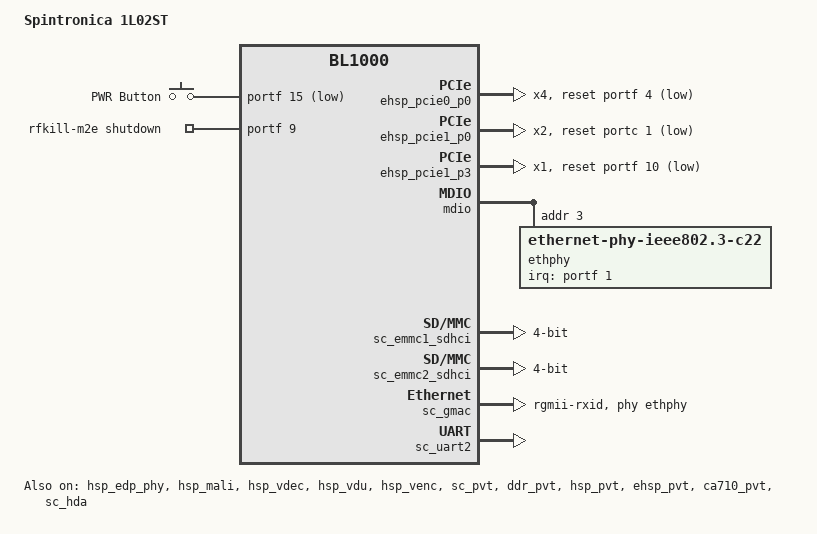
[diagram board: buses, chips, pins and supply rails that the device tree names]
// SPDX-License-Identifier: GPL-2.0
/*
 * Device tree source for ET114-v2.
 */

/dts-v1/;

#define USE_BL1000_PCIE1_SS_MODE	3

#include "bl1000.dtsi"
#include <dt-bindings/input/gpio-keys.h>
#include <dt-bindings/input/linux-event-codes.h>

/ {
	model = "Spintronica 1L02ST";
	compatible = "baikal,dbl", "baikal,bl1000";

	aliases {
		ethernet0 = &sc_gmac;
		fru = &fru;
		evdu = &ehsp_vdu;
		vdu = &hsp_vdu;
	};

	cpus {
		baikal,demand-qos = <12>;
		baikal,prefetch-qos = <10>;
		cpu@0 {
			baikal,enable-cbusy-tuning = <1>;
		};
		cpu@100 {
			baikal,enable-cbusy-tuning = <1>;
		};
		cpu@200 {
			baikal,enable-cbusy-tuning = <1>;
		};
		cpu@300 {
			baikal,enable-cbusy-tuning = <1>;
		};
	};

	chosen { };

	gpio-keys {
		compatible = "gpio-keys";
		pinctrl = <&hsp_lsp_pin14_gpio32>,
			  <&hsp_lsp_pin15_gpio32>; // ???
		pwr {
			label = "PWR Button";
			linux,code = <116>;
			gpios = <&portf 15 GPIO_ACTIVE_LOW>;
			wakeup-source;
			wakeup-event-action = <EV_ACT_DEASSERTED>;
		};
	};

	rfkill {
		compatible = "rfkill-gpio";
		label = "rfkill-m2e";
		radio-type = "wlan";
		shutdown-gpios = <&portf 9 GPIO_ACTIVE_HIGH>;
	};

};

&ehsp_pcie0_p0 {
	status = "okay";
	num-lanes = <4>;
	pinctrl = <&hsp_lsp_pin4_gpio32>;
	reset-gpios = <&portf 4 GPIO_ACTIVE_LOW>;
};

&ehsp_pcie1_p0 {
	status = "okay";
	num-lanes = <2>;
	reset-gpios = <&portc 1 GPIO_ACTIVE_LOW>;
};

&ehsp_pcie1_p3 {
	status = "okay";
	num-lanes = <1>;
	pinctrl = <&hsp_lsp_pin10_gpio32>;
	reset-gpios = <&portf 10 GPIO_ACTIVE_LOW>;
};

&hsp_edp_phy {
	status = "okay";
};

&edp_phy {
	cdns,num-lanes = <2>;
};

&hsp_lsp_pinctrl0 {
	status = "okay";
};

&hsp_lsp_pinctrl1 {
	status = "okay";
};

&hsp_lsp_pinctrl2 {
	status = "okay";
};

&hsp_mali {
	status = "okay";
	baikal,arqos = <10>;
	baikal,awqos = <10>;
};

&hsp_vdec {
	status = "okay";
	baikal,arqos = <14>;
	baikal,awqos = <14>;
};

&hsp_vdu {
	status = "okay";
	baikal,dp-lanes = <4>;
	baikal,arqos = <15>;
	backlight {
		min-brightness-level = <10>;
		default-brightness-level = <60>;
		brightness-level-step = <2>;
		pwm-frequency = <20000>;
	};
};

&hsp_venc {
	status = "okay";
};

&mdio {
	ethphy: ethernet-phy@3 {
		compatible = "ethernet-phy-ieee802.3-c22";
		reg = <0x3>;
		interrupt-parent = <&portf>;
		interrupts = <1 IRQ_TYPE_LEVEL_LOW>;
	};
};

&sc_emmc1_sdhci {
	status = "okay";
	pinctrl = <&sc_emmc_mux_emmc1>,
		  <&sc_emmc_hc1_1_8v>,
		  <&sc_emmc_hc1_mem_pwrup>,
		  <&sc_emmc_pu_hc1_cmd_dat_0_7>,
		  <&sc_emmc_pd_hc1_dqs>;
	bus-width = <4>;
};

&sc_emmc2_sdhci {
	status = "okay";
	pinctrl = <&sc_emmc_mux_emmc2>,
		  <&sc_emmc_hc2_1_8v>,
		  <&sc_emmc_hc2_mem_pwrup>,
		  <&sc_emmc_pu_hc2_cmd_dat_0_7>,
		  <&sc_emmc_pd_hc2_dqs>;
	bus-width = <4>;
};

&sc_emmc_pinctrl {
	status = "okay";
};

&sc_emmc_pu_pinctrl {
	status = "okay";
};

&sc_emmc_pd_pinctrl {
	status = "okay";
};

&sc_gmac {
	status = "okay";
	pinctrl = <&sc_gmac_sdio_bit0_mode1>,
		  <&hsp_lsp_pin0_gpio32>,
		  <&hsp_lsp_pin1_gpio32>;

	phy-handle = <&ethphy>;
	phy-mode = "rgmii-rxid";

	snps,reset-gpios = <&portf 0 GPIO_ACTIVE_LOW>;
	snps,reset-delays-us = <10 10200 60000>;
};

&sc_gmac_sdio_pinctrl {
	status = "okay";
};

&sc_gpio32 {
	status = "okay";
};

&hsp_gpio32 {
	status = "okay";
};

&sc_gpio30 {
	status = "okay";
};

&hsp_lsp_pinctrl0 {
	status = "okay";
};

&sc_lsp_pinctrl0 {
	status = "okay";
};

&sc_lsp_pinctrl1 {
	status = "okay";
};

&sc_lsp_pinctrl2 {
	status = "okay";
};

&sc_uart2 {
	status = "okay";
	pinctrl = <&sc_lsp_pin12_uart2_rxd>,
		  <&sc_lsp_pin13_uart2_txd>;
};

&sc_pvt {
	status = "okay";
};

&ddr_pvt {
	status = "okay";
};

&hsp_pvt {
	status = "okay";
};

&ehsp_pvt {
	status = "okay";
};

&ca710_pvt {
	status = "okay";
};

&sc_hda {
	status = "okay";
	pinctrl = <&sc_lsp_pin14_hda_rst>,
		  <&sc_lsp_pin15_hda_sync>,
		  <&sc_lsp_pin16_hda_bclk>,
		  <&sc_lsp_pin17_hda_sdo0>,
		  <&sc_lsp_pin18_hda_sdi0>;
	patch-data = "[codec]\n\
0x111d76d5 0x00000100 0\n\
[model]\n\
et114\n\
[pincfg]\n\
0x0a 0x01a1101f\n\
0x0b 0x01211010\n\
0x0c 0x02a19020\n\
0x0e 0x02014021\n\
0x0f 0x02813040\n";
};

&ehsp_dp_phy {
	status = "okay";
};

&ehsp_vdu {
	status = "okay";
	baikal,dp-lanes = <4>;
	baikal,arqos = <15>;
};

&hsp_usb1_l0 {
	status = "okay";
	dr_mode = "host";
	maximum-speed = "super-speed";
	phys = <&hsp_usb1_phy10g_l0>;
	phy-names = "cdns3,usb3-phy";
};

&hsp_usb1_l1 {
	status = "okay";
	dr_mode = "host";
	maximum-speed = "high-speed";
	phys = <&hsp_usb1_phy10g_l1>;
	phy-names = "cdns3,usb3-phy";
};

&hsp_usb1_phy10g {
	status = "okay";
};

&hsp_usb1_phy10g_l0 {
	status = "okay";
};

&hsp_usb1_phy10g_l1 {
	status = "okay";
};

&sc_i2c1 {	// M2E
	status = "okay";
	pinctrl = <&sc_lsp_pin2_i2c1_scl>,
		  <&sc_lsp_pin3_i2c1_sda>;
};

&sc_i2c2 {
	status = "okay";
	pinctrl = <&sc_lsp_pin4_i2c2_scl>,
		  <&sc_lsp_pin5_i2c2_sda>;

	fru: eeprom@50 {
		compatible = "atmel,24c256";
		reg = <0x50>;
	};

	rtc: rtc@51 {
		compatible = "haoyu,hym8563";
		reg = <0x51>;
	};
};

&hsp_usb0_l0 {
	status = "okay";
	dr_mode = "host";
	maximum-speed = "super-speed";
	phys = <&hsp_usb0_phy10g_l0>;
	phy-names = "cdns3,usb3-phy";
};

&hsp_usb0_l1 {
	status = "okay";
	dr_mode = "host";
	maximum-speed = "super-speed";
	phys = <&hsp_usb0_phy10g_l1>;
	phy-names = "cdns3,usb3-phy";
};

&hsp_usb0_phy10g {
	status = "okay";
};

&hsp_usb0_phy10g_l0 {
	status = "okay";
};

&hsp_usb0_phy10g_l1 {
	status = "okay";
};

&sc_i2c3 {
	status = "okay";
	pinctrl = <&sc_lsp_pin6_i2c3_scl>,
		  <&sc_lsp_pin7_i2c3_sda>;

	edid: eeprom@50 {
		compatible = "atmel,24c32";
		pagesize = <32>;
		reg = <0x50>;
	};

	eeprom@54 {
		compatible = "st,m24256";
		reg = <0x54>;
	};
};

&sc_uart0 {
	status = "okay";
	pinctrl = <&sc_lsp_pin8_uart0_rxd>,
		  <&sc_lsp_pin9_uart0_txd>;
};

&sc_uart1 {
	status = "okay";
	pinctrl = <&sc_lsp_pin10_uart1_rxd>,
		  <&sc_lsp_pin11_uart1_txd>;
};

